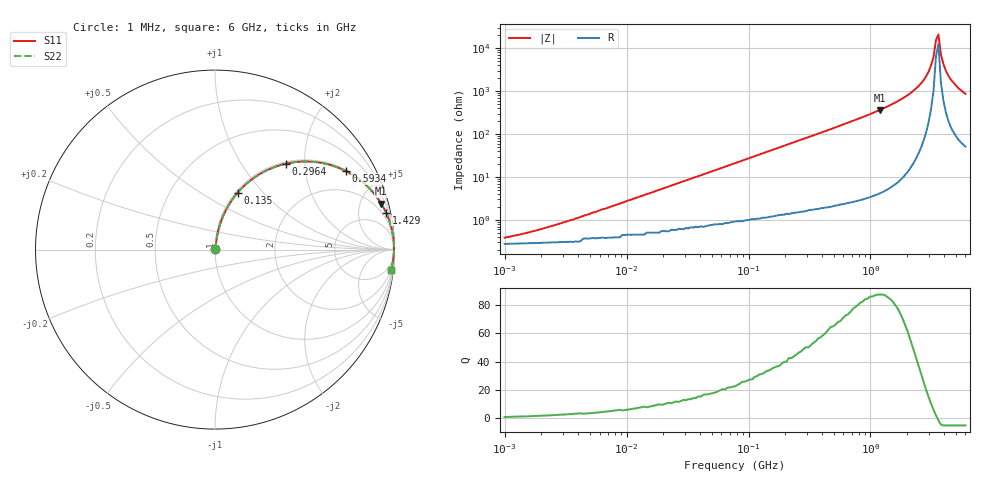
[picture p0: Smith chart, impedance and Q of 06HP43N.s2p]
# MHz S MA R 50
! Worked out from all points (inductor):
!   189 points, 1 MHz to 6 GHz, reference 50 ohm
!   read as one part in series: L = 43 nH near 3.488 MHz
!   highest Q = 87.2 at 1.188 GHz (marker M1), where L = 48.4 nH
!   self-resonance near 3.443 GHz
!   S11 on the Smith chart (normalised r, x): 1 MHz: 1.01, +0.01; 135 MHz: 1.02, +0.73; 296.4 MHz: 1.03, +1.61; 593.4 MHz: 1.05, +3.30; 1.429 GHz: 1.11, +9.23; 6 GHz: 2, -17
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1  0.003693 46.7  0.997 -0.2  0.997 -0.2  0.003693 46.7
4.396  0.012 73.2  0.996 -0.7  0.996 -0.7  0.012 73.2
18.454  0.05 81.1  0.994 -2.8  0.994 -2.8  0.05 81.1
77.46  0.203 75.8  0.97 -11.7  0.97 -11.7  0.203 75.8
134.969  0.34 68.4  0.93 -19.9  0.93 -19.9  0.34 68.4
296.398  0.622 50.4  0.771 -38.4  0.771 -38.4  0.622 50.4
340.538  0.674 46.5  0.726 -42.4  0.726 -42.4  0.674 46.5
593.368  0.85 31.0  0.515 -58.2  0.515 -58.2  0.85 31.0
1187.879  0.961 15.4  0.266 -73.9  0.266 -73.9  0.961 15.4
1429.415  0.975 12.2  0.211 -77.1  0.211 -77.1  0.975 12.2
2069.811  0.991 6.7  0.117 -82.3  0.117 -82.3  0.991 6.7
2732.184  0.996 3.1  0.055 -84.6  0.055 -84.6  0.996 3.1
2997.112  0.997 2.0  0.035 -84.2  0.035 -84.2  0.997 2.0
3139.06  0.997 1.4  0.025 -83.0  0.025 -83.0  0.997 1.4
3287.73  0.997 0.9  0.016 -79.7  0.016 -79.7  0.997 0.9
3443.441  0.997 0.3  0.006434 -64.6  0.006434 -64.6  0.997 0.3
3606.527  0.997 -0.2  0.004792 52.6  0.004792 52.6  0.997 -0.2
3777.337  0.997 -0.8  0.014 76.3  0.014 76.3  0.997 -0.8
3956.237  0.996 -1.3  0.023 80.5  0.023 80.5  0.996 -1.3
4143.61  0.996 -1.9  0.033 81.9  0.033 81.9  0.996 -1.9
4760.675  0.994 -3.6  0.062 82.3  0.062 82.3  0.994 -3.6
6000  0.987 -6.5  0.114 80.1  0.114 80.1  0.987 -6.5
